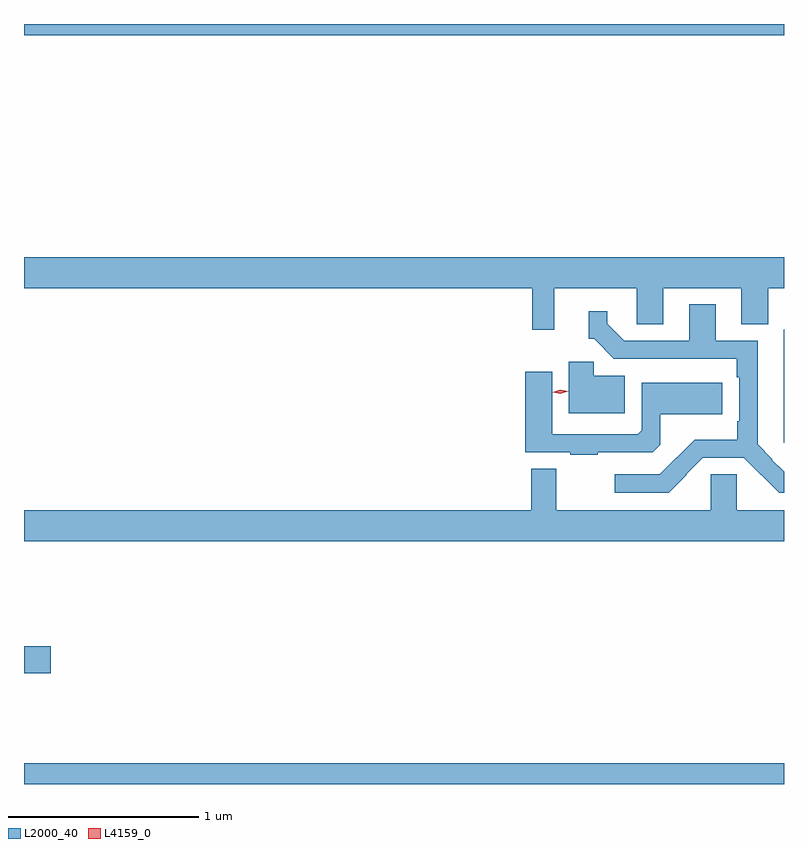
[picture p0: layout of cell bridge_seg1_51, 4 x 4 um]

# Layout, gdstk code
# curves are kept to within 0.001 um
import gdstk
lib = gdstk.Library(unit=1e-6, precision=1e-09)
def R(c, l, rs):  # rectangles x0, y0, x1, y1
    for r in rs: c.add(gdstk.rectangle(r[:2], r[2:], *l))
def P(c, l, *ps):  # polygons
    for p in ps: c.add(gdstk.Polygon(p, *l))
L2000_40 = (2000, 40)
L4159_0 = (4159, 0)

bridge_seg1_51 = lib.new_cell('bridge_seg1_51')
R(bridge_seg1_51, L2000_40, [(429.549,523.815,433.549,523.924), (429.549,524.398,429.691,524.54), (429.549,527.756,433.549,527.815)])
P(bridge_seg1_51, L2000_40, [(429.549,526.424),(432.223,526.424),(432.223,526.206),(432.341,526.206),(432.341,526.424),(432.774,526.424),(432.774,526.234),(432.913,526.234),(432.913,526.424),(433.325,526.424),(433.325,526.234),(433.465,526.234),(433.465,526.424),(433.549,526.424),(433.549,526.588),(429.549,526.588)],
  [(433.037,525.442),(433.035,525.444),(433.122,525.531),(433.338,525.531),(433.523,525.348),(433.549,525.348),(433.549,525.458),(433.485,525.522),(433.488,525.525),(433.411,525.602),(433.411,526.149),(433.189,526.149),(433.189,526.339),(433.049,526.339),(433.049,526.149),(432.707,526.149),(432.619,526.237),(432.619,526.303),(432.521,526.303),(432.521,526.158),(432.549,526.158),(432.654,526.053),(433.3,526.053),(433.3,525.956),(433.314,525.956),(433.314,525.724),(433.302,525.724),(433.302,525.628),(433.078,525.628),(432.894,525.444),(432.657,525.444),(432.657,525.348),(432.943,525.348)],
  [(433.549,526.209),(433.547,526.207),(433.547,525.827),(433.548,525.827),(433.548,525.612),(433.549,525.611)],
  [(432.712,525.964),(432.548,525.964),(432.548,526.037),(432.416,526.037),(432.416,525.767),(432.712,525.767)],
  [(432.569,525.561),(432.858,525.561),(432.897,525.6),(432.897,525.761),(433.225,525.761),(433.225,525.927),(432.801,525.928),(432.801,525.678),(432.78,525.657),(432.328,525.657),(432.328,525.985),(432.188,525.985),(432.188,525.561),(432.424,525.561),(432.424,525.549),(432.569,525.549)],
  [(433.549,525.256),(433.301,525.256),(433.301,525.446),(433.164,525.446),(433.164,525.256),(432.349,525.256),(432.349,525.475),(432.22,525.475),(432.22,525.256),(429.549,525.256),(429.549,525.092),(433.549,525.092)])
P(bridge_seg1_51, L4159_0, [(432.372,525.869),(432.331,525.878),(432.331,525.878),(432.331,525.878),(432.372,525.889),(432.413,525.881),(432.413,525.881),(432.413,525.881)])

lib.write_gds('bridge_seg1_51.gds')
